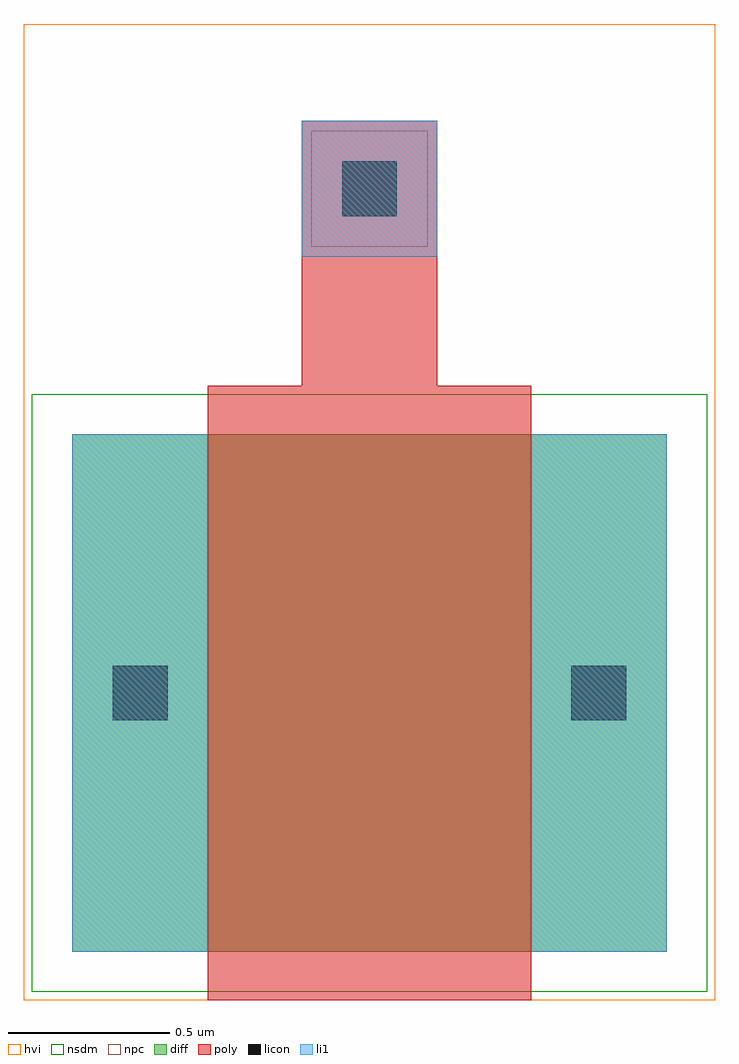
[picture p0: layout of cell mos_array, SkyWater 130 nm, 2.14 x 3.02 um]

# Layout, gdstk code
import gdstk
lib = gdstk.Library(unit=1e-6, precision=1e-09)
def R(c, l, rs):  # rectangles x0, y0, x1, y1
    for r in rs: c.add(gdstk.rectangle(r[:2], r[2:], *l))
diff = (65, 20)
poly = (66, 20)
licon = (66, 44)
li1 = (67, 20)
hvi = (75, 20)
nsdm = (93, 44)
npc = (95, 20)

mos_array = lib.new_cell('mos_array')
R(mos_array, diff, [(0,0,1.84,1.6)])
R(mos_array, poly, [(0.42,-0.15,1.42,1.6), (0.42,1.6,1.42,1.75), (0.42,1.6,1.42,1.75), (0.71,1.75,1.13,2.57)])
R(mos_array, licon, [(0.125,0.715,0.295,0.885), (1.545,0.715,1.715,0.885), (0.835,2.275,1.005,2.445)])
R(mos_array, li1, [(0,0,0.42,1.6), (1.42,0,1.84,1.6), (0.71,2.15,1.13,2.57)])
R(mos_array, hvi, [(-0.15,-0.15,1.99,2.87)])
R(mos_array, nsdm, [(-0.125,-0.125,1.965,1.725)])
R(mos_array, npc, [(0.74,2.18,1.1,2.54)])

lib.write_gds('mos_array.gds')
